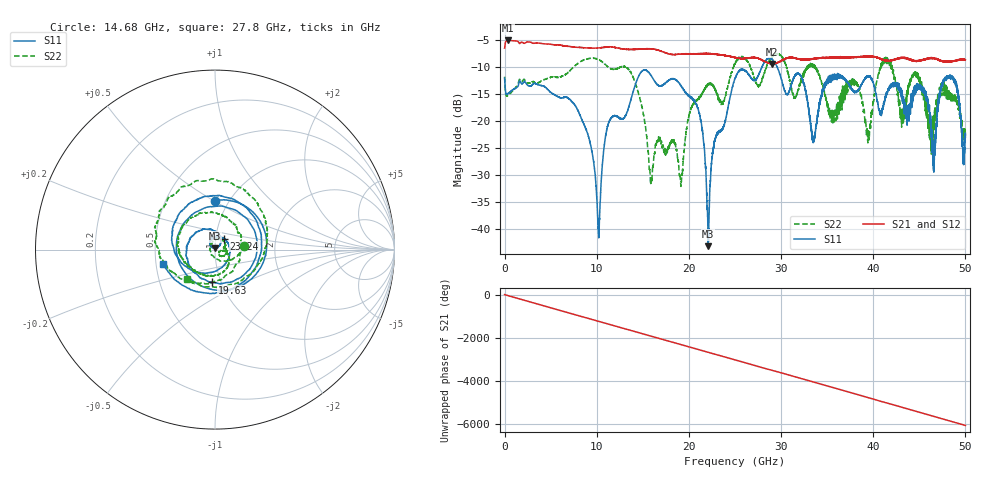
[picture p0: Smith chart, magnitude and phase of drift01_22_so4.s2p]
!Created with skrf (http://scikit-rf.org).
# Hz S RI R 50.0
!freq ReS11 ImS11 ReS21 ImS21 ReS12 ImS12 ReS22 ImS22
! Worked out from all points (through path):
!   10001 points, 300 kHz to 50 GHz, reference 50 ohm
!   highest |S21| = -5.05 dB at 325.3 MHz (marker M1); lowest = -9.4 dB at 29.04 GHz (marker M2)
!   group delay of S21, straight-line fit = 336 ps
!   lowest |S11| = -43.3 dB at 22.09 GHz (marker M3), VSWR 1.01, Z = 49.9 + j0.676 ohm
!   |S11| at or under -10 dB: start of sweep to 27.91 GHz; 29.59 GHz to end of sweep
!   |S22| runs from -32.2 to -7.5 dB; largest |S21 - S12| = 0.012
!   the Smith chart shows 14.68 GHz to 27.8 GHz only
!   S11 on the Smith chart (normalised r, x): 14.68 GHz: 0.86, +0.51; 19.63 GHz: 0.91, -0.34; 23.24 GHz: 1.10, +0.14; 27.8 GHz: 0.54, -0.10
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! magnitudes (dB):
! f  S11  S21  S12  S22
! 300 kHz  -12.1  -6.5  -6.6  -11.8
! 325.3 MHz  -15.0  -5.1  -5.1  -15.3
! 8.335 GHz  -19.5  -6.4  -6.4  -8.9
! 10.2 GHz  -41.2  -6.5  -6.4  -8.6
! 11.24 GHz  -20.6  -6.3  -6.2  -10.0
! 14.68 GHz  -11.3  -6.7  -6.6  -15.7
! 15.88 GHz  -11.5  -6.6  -6.6  -31.1
! 16.67 GHz  -13.4  -6.9  -6.9  -23.2
! 19.63 GHz  -14.7  -7.5  -7.5  -23.1
! 21.23 GHz  -19.5  -7.5  -7.5  -15.6
! 22.09 GHz  -43.3  -7.5  -7.5  -13.3
! 23.24 GHz  -22.0  -7.7  -7.7  -15.8
! 25 GHz  -12.1  -8.2  -8.3  -9.5
! 27.8 GHz  -10.4  -8.6  -8.6  -12.8
! 29.04 GHz  -8.6  -9.4  -9.4  -8.1
! 33.34 GHz  -22.8  -8.5  -8.5  -9.6
! 39.47 GHz  -11.7  -8.1  -8.0  -22.5
! 41.67 GHz  -13.9  -8.8  -8.8  -9.0
! 45.36 GHz  -13.8  -8.7  -8.6  -14.4
! 46.56 GHz  -26.4  -8.4  -8.3  -20.9
! 48.52 GHz  -11.6  -8.9  -8.9  -15.3
! 50 GHz  -23.0  -8.6  -8.7  -22.6
